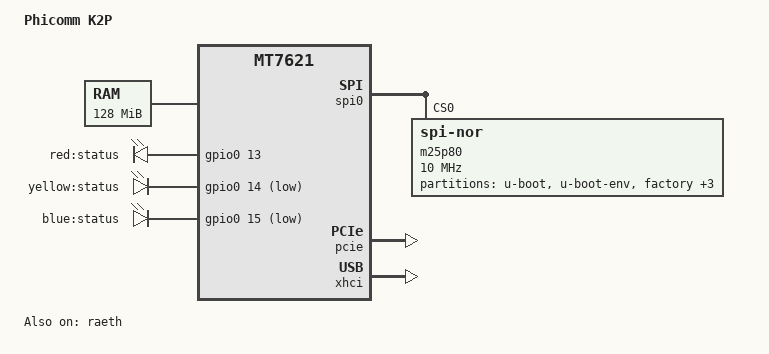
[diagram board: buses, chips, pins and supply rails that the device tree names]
/dts-v1/;

#include "mt7621.dtsi"

#include <dt-bindings/gpio/gpio.h>
#include <dt-bindings/input/input.h>

/ {
	compatible = "phicomm,k2p", "ralink,mt7621-soc";
	model = "Phicomm K2P";

	memory@0 {
		device_type = "memory";
		reg = <0x0 0x8000000>;
	};

	leds {
		compatible = "gpio-leds";

		stat_r {
			label = "red:status";
			gpios = <&gpio0 13 GPIO_ACTIVE_HIGH>;
		};

		stat_y {
			label = "yellow:status";
			gpios = <&gpio0 14 GPIO_ACTIVE_LOW>;
		};

		led_blue: stat_b {
			label = "blue:status";
			gpios = <&gpio0 15 GPIO_ACTIVE_LOW>;
		};
	};
};

&spi0 {
	status = "okay";
	m25p80@0 {
		compatible = "jedec,spi-nor";
		reg = <0>;
		spi-max-frequency = <10000000>;

		partitions {
			compatible = "fixed-partitions";
			#address-cells = <1>;
			#size-cells = <1>;

			partition@0 {
				label = "u-boot";
				reg = <0x0 0x30000>;
			};

			partition@30000 {
				label = "u-boot-env";
				reg = <0x30000 0x4000>;
			};

			factory: partition@40000 {
				label = "factory";
				reg = <0x40000 0x10000>;
			};
			partition@50000 {
				compatible = "denx,uimage";
				label = "linux";
				reg = <0x50000 0xfb0000>;
			};

			partition@ff00000 {
				label = "nvram";
				reg = <0xff0000 0x10000>;
			};
			partition@0000000 {
				label = "fullflash";
				reg = <0x000000 0x1000000>;
			};
		};
	};
};

&raeth {
	status = "okay";
	mac-address = [00 00 00 00 00 00];
	gmac1-support = "rgmii-1";
	rgmii-mode-1 = "force-1000";
	gmac2-support = "rgmii-2";
	rgmii-mode-2 = "force-1000";
	gmac2-phy-address = <0>;
	gmac1_txq_num = <1>;
	gmac1_txq_txd_num = <1024>;
	gmac2_txq_num = <1>;
	gmac2_txq_txd_num = <1024>;
	num_rx_desc = <1024>;
};

&pcie {
	status = "okay";
};

&pinctrl {
	state_default: pinctrl0 {
		gpio {
			ralink,group = "i2c", "uart2", "uart3", "rgmii2", "sdhci";
			ralink,function = "gpio";
		};
	};
};

&xhci {
	status = "okay";
};

